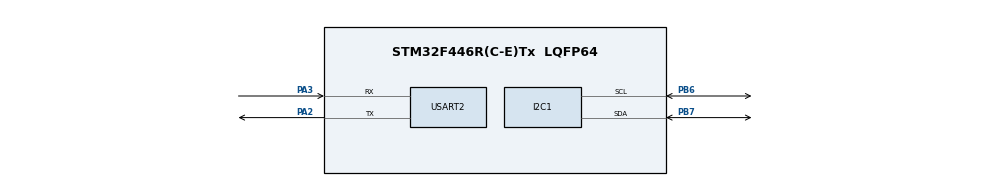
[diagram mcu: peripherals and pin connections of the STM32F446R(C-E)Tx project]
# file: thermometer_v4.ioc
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Mcu.Family=STM32F4
Mcu.Name=STM32F446R(C-E)Tx
Mcu.Package=LQFP64
NVIC.I2C1_ER_IRQn=true\:0\:0\:false\:false\:true\:true\:true\:true
NVIC.I2C1_EV_IRQn=true\:0\:0\:false\:false\:true\:true\:true\:true
NVIC.PriorityGroup=NVIC_PRIORITYGROUP_4
NVIC.USART2_IRQn=true\:0\:0\:false\:false\:true\:true\:true\:true
PA2.Mode=Asynchronous
PA2.Signal=USART2_TX
PA3.Mode=Asynchronous
PA3.Signal=USART2_RX
PB6.Mode=I2C
PB6.Signal=I2C1_SCL
PB7.Mode=I2C
PB7.Signal=I2C1_SDA
ProjectManager.HeapSize=0x200
ProjectManager.StackSize=0x400
ProjectManager.TargetToolchain=STM32CubeIDE
RCC.CortexFreq_Value=16000000
RCC.USBFreq_Value=96000000
RCC.VCOOutputFreq_Value=192000000
USART2.VirtualMode=VM_ASYNC
board=custom

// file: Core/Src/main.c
/* USER CODE BEGIN Header */
/**
  ******************************************************************************
  * @file           : main.c
  * @brief          : Main program body
  ******************************************************************************
  * @attention
  *
  * Copyright (c) 2022 STMicroelectronics.
  * All rights reserved.
  *
  * This software is licensed under terms that can be found in the LICENSE file
  * in the root directory of this software component.
  * If no LICENSE file comes with this software, it is provided AS-IS.
  *
  ******************************************************************************
  */
/* USER CODE END Header */
#include "main.h"

/* USER CODE BEGIN Includes */
#include <stdio.h>
#include <math.h>
/* USER CODE END Includes */

/* USER CODE BEGIN PD */
#define MLX90614_addr 0x5A
#define mlx_cmd_pointer 1
#define mlx_cmd_amb 0x06
#define mlx_cmd_obj_1 0x07
#define mlx_cmd_obj_2 0x08
#define mlx_cmd_emissivity 0x24
#define mlx_cmd_emissivity_2 0x2F
/* USER CODE END PD */

I2C_HandleTypeDef hi2c1;

UART_HandleTypeDef huart2;

/* USER CODE BEGIN PV */
uint8_t mlx_read_buffer[6]={0xB4,0x00,0xB5,0};
uint8_t mlx_write_buffer[5]={0xB4,0};
uint8_t mlx_write_zero[5]={0xB4,0};
char uart_buf[30];
/* USER CODE END PV */

void SystemClock_Config(void);
static void MX_GPIO_Init(void);
static void MX_I2C1_Init(void);
static void MX_USART2_UART_Init(void);

/* USER CODE BEGIN 0 */
void mlx_read_temperature(void)
{
	double temp_obj_1, temp_obj_2, temp_amb;
	mlx_read_buffer[mlx_cmd_pointer]=mlx_cmd_amb;

	HAL_I2C_Mem_Read_IT(&hi2c1,(uint16_t)MLX90614_addr<<1,mlx_cmd_amb,I2C_MEMADD_SIZE_8BIT,
			(uint8_t *)&mlx_read_buffer[3],3);

	while(HAL_I2C_GetState(&hi2c1)!=HAL_I2C_STATE_READY)
	{

	}
	temp_amb=(mlx_read_buffer[4]<<8|mlx_read_buffer[3]);
	temp_amb=(temp_amb*0.02)-273.15;

	memset(uart_buf,0,30);
	sprintf(uart_buf, "amb : %.2lf\n\r", temp_amb);
	HAL_UART_Transmit_IT(&huart2, uart_buf, sizeof(uart_buf));

	mlx_read_buffer[mlx_cmd_pointer]=mlx_cmd_obj_1;
	HAL_I2C_Mem_Read_IT(&hi2c1,(uint16_t)MLX90614_addr<<1,mlx_cmd_obj_1,I2C_MEMADD_SIZE_8BIT,
    	(uint8_t *)&mlx_read_buffer[3],3);
	while(HAL_I2C_GetState(&hi2c1)!=HAL_I2C_STATE_READY)
	{

	}
	temp_obj_1=(mlx_read_buffer[4]<<8|mlx_read_buffer[3]);
	temp_obj_1=(temp_obj_1*0.02)-273.15;

	memset(uart_buf,0,30);
	sprintf(uart_buf, "obj1 : %.2lf\n\r", temp_obj_1);
	HAL_UART_Transmit_IT(&huart2, uart_buf, sizeof(uart_buf));

	/*
	Object 2 temperature, RAM-0x07
	*/
	mlx_read_buffer[mlx_cmd_pointer]=mlx_cmd_obj_2;
	HAL_I2C_Mem_Read_IT(&hi2c1,(uint16_t)MLX90614_addr<<1,mlx_cmd_obj_2,I2C_MEMADD_SIZE_8BIT,
    	(uint8_t *)&mlx_read_buffer[3],3);
	while(HAL_I2C_GetState(&hi2c1)!=HAL_I2C_STATE_READY)
	{

	}
	temp_obj_2=(mlx_read_buffer[4]<<8|mlx_read_buffer[3]);
	temp_obj_2=(temp_obj_2*0.02)-273.15;

	memset(uart_buf,0,30);
	sprintf(uart_buf, "obj2 : %.2lf\n\r", temp_obj_2);
	HAL_UART_Transmit_IT(&huart2, uart_buf, sizeof(uart_buf));
}

void mlx_sleep()
{
	uint8_t enter_sleep[2]={0xFF,0xE8};	//0xFF-Sleep CMD, 0xE8-PEC (0xB4+0xFF)
	HAL_I2C_Master_Transmit_IT(&hi2c1,(uint16_t)MLX90614_addr<<1,(uint8_t *)&enter_sleep,2);
	while(HAL_I2C_GetState(&hi2c1)!=HAL_I2C_STATE_READY)
	{
	}
}

void mlx_wakeup()
{

	HAL_I2C_DeInit(&hi2c1);
	GPIO_InitTypeDef GPIO_InitStruct = {0};
	HAL_GPIO_WritePin(GPIOB, GPIO_PIN_7, GPIO_PIN_RESET);
	GPIO_InitStruct.Pin = GPIO_PIN_7;
	GPIO_InitStruct.Mode = GPIO_MODE_OUTPUT_PP;
	GPIO_InitStruct.Pull = GPIO_NOPULL;
	HAL_GPIO_Init(GPIOB, &GPIO_InitStruct);
	HAL_Delay(33);
	HAL_GPIO_DeInit(GPIOB,GPIO_PIN_7);

	HAL_I2C_Init(&hi2c1);
	HAL_Delay(250);

}
/* USER CODE END 0 */

int main(void)
{

  /* MCU Configuration--------------------------------------------------------*/

  /* Reset of all peripherals, Initializes the Flash interface and the Systick. */
  HAL_Init();

  /* Configure the system clock */
  SystemClock_Config();

  /* Initialize all configured peripherals */
  MX_GPIO_Init();
  MX_I2C1_Init();
  MX_USART2_UART_Init();
  /* USER CODE BEGIN 2 */
  HAL_Delay(1000);
  uint8_t str[] = "MLX90614\n\r";
  HAL_UART_Transmit_IT(&huart2, str, sizeof(str));
  HAL_Delay(100);
  mlx_sleep();
  mlx_wakeup();
  HAL_Delay(500);
  memset(uart_buf,0,30);
  sprintf(uart_buf, "temperature : ---\n\r");
  HAL_UART_Transmit_IT(&huart2, uart_buf, sizeof(uart_buf));
  /* USER CODE END 2 */

  /* Infinite loop */
  /* USER CODE BEGIN WHILE */
  while (1)
  {
	  mlx_read_temperature();
	  HAL_Delay(1000);
    /* USER CODE END WHILE */

  }
}

void SystemClock_Config(void)
{
  RCC_OscInitTypeDef RCC_OscInitStruct = {0};
  RCC_ClkInitTypeDef RCC_ClkInitStruct = {0};

  /** Configure the main internal regulator output voltage
  */
  __HAL_RCC_PWR_CLK_ENABLE();
  __HAL_PWR_VOLTAGESCALING_CONFIG(PWR_REGULATOR_VOLTAGE_SCALE3);

  /** Initializes the RCC Oscillators according to the specified parameters
  * in the RCC_OscInitTypeDef structure.
  */
  RCC_OscInitStruct.OscillatorType = RCC_OSCILLATORTYPE_HSI;
  RCC_OscInitStruct.HSIState = RCC_HSI_ON;
  RCC_OscInitStruct.HSICalibrationValue = RCC_HSICALIBRATION_DEFAULT;
  RCC_OscInitStruct.PLL.PLLState = RCC_PLL_NONE;
  if (HAL_RCC_OscConfig(&RCC_OscInitStruct) != HAL_OK)
  {
    Error_Handler();
  }

  /** Initializes the CPU, AHB and APB buses clocks
  */
  RCC_ClkInitStruct.ClockType = RCC_CLOCKTYPE_HCLK|RCC_CLOCKTYPE_SYSCLK
                              |RCC_CLOCKTYPE_PCLK1|RCC_CLOCKTYPE_PCLK2;
  RCC_ClkInitStruct.SYSCLKSource = RCC_SYSCLKSOURCE_HSI;
  RCC_ClkInitStruct.AHBCLKDivider = RCC_SYSCLK_DIV1;
  RCC_ClkInitStruct.APB1CLKDivider = RCC_HCLK_DIV1;
  RCC_ClkInitStruct.APB2CLKDivider = RCC_HCLK_DIV1;

  if (HAL_RCC_ClockConfig(&RCC_ClkInitStruct, FLASH_LATENCY_0) != HAL_OK)
  {
    Error_Handler();
  }
}

static void MX_I2C1_Init(void)
{

  hi2c1.Instance = I2C1;
  hi2c1.Init.ClockSpeed = 100000;
  hi2c1.Init.DutyCycle = I2C_DUTYCYCLE_2;
  hi2c1.Init.OwnAddress1 = 0;
  hi2c1.Init.AddressingMode = I2C_ADDRESSINGMODE_7BIT;
  hi2c1.Init.DualAddressMode = I2C_DUALADDRESS_DISABLE;
  hi2c1.Init.OwnAddress2 = 0;
  hi2c1.Init.GeneralCallMode = I2C_GENERALCALL_DISABLE;
  hi2c1.Init.NoStretchMode = I2C_NOSTRETCH_DISABLE;
  if (HAL_I2C_Init(&hi2c1) != HAL_OK)
  {
    Error_Handler();
  }

}

static void MX_USART2_UART_Init(void)
{

  huart2.Instance = USART2;
  huart2.Init.BaudRate = 115200;
  huart2.Init.WordLength = UART_WORDLENGTH_8B;
  huart2.Init.StopBits = UART_STOPBITS_1;
  huart2.Init.Parity = UART_PARITY_NONE;
  huart2.Init.Mode = UART_MODE_TX_RX;
  huart2.Init.HwFlowCtl = UART_HWCONTROL_NONE;
  huart2.Init.OverSampling = UART_OVERSAMPLING_16;
  if (HAL_UART_Init(&huart2) != HAL_OK)
  {
    Error_Handler();
  }

}

static void MX_GPIO_Init(void)
{

  /* GPIO Ports Clock Enable */
  __HAL_RCC_GPIOA_CLK_ENABLE();
  __HAL_RCC_GPIOB_CLK_ENABLE();

}

void Error_Handler(void)
{
  __disable_irq();
  while (1)
  {
  }
}
